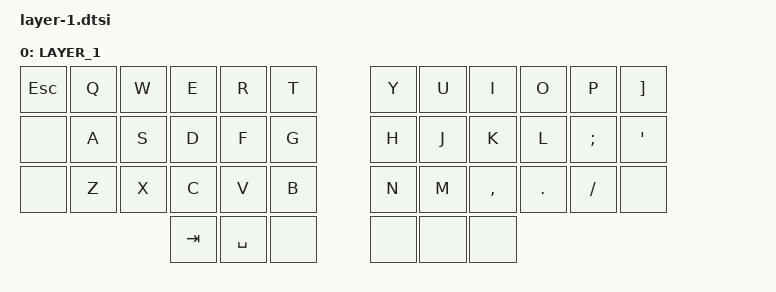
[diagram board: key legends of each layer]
/**
 * Alpha Layer - QWERTY
 */

/ {
    keymap {
        compatible = "zmk,keymap";

        layer_1 {
            label = "LAYER_1";
            bindings = <
// ╭───────────────┬───────────────┬───────────────┬───────────────┬───────────────┬───────────────╮   ╭───────────────┬───────────────┬───────────────┬───────────────┬───────────────┬───────────────╮
    &kp ESC         &kp Q           &kp W           &kp E           &kp R           &kp T               &kp Y           &kp U           &kp I           &kp O           &kp P           &kp RBKT
// ├───────────────├───────────────┼───────────────┼───────────────┼───────────────┼───────────────┤   ├───────────────├───────────────┼───────────────┼───────────────┼───────────────┼───────────────┤
    &none           &kp A           &kp S           &kp D           &kp F           &kp G               &kp H           &kp J           &kp K           &kp L           &kp SEMI        &kp SQT 
// ├───────────────├───────────────┼───────────────┼───────────────┼───────────────┼───────────────┤   ├───────────────├───────────────┼───────────────┼───────────────┼───────────────┼───────────────┤
    &none           &kp Z           &kp X           &kp C           &kp V           &kp B               &kp N           &kp M           &kp COMMA       &kp DOT         &kp SLASH       &none
// ╰───────────────┴───────────────┴───────────────┼───────────────┼───────────────┼───────────────┤   ├───────────────├───────────────┼───────────────┼───────────────┴───────────────┴───────────────╯
                                                    &kp TAB         &kp SPACE       &none               &none           &none           &none 
//                                                 ╰───────────────┴───────────────┴───────────────╯   ╰───────────────┴───────────────┴───────────────╯
            >;
        };
    };
};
